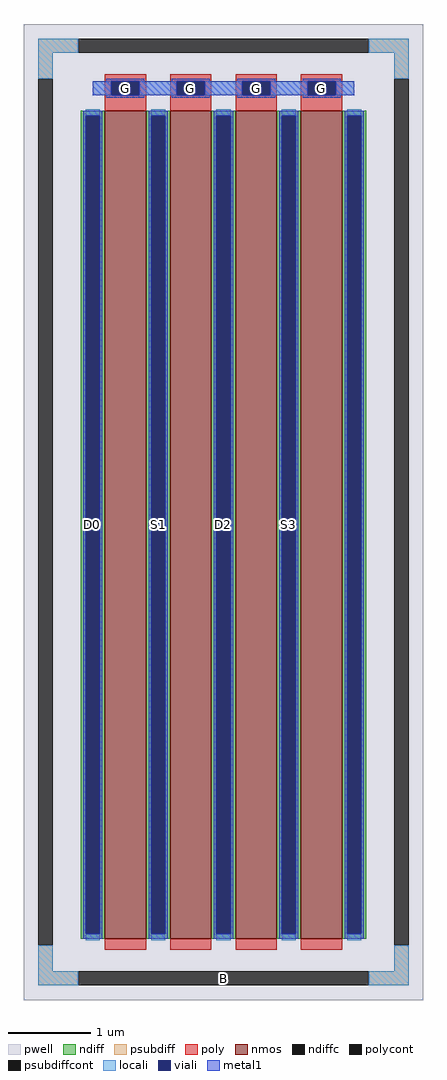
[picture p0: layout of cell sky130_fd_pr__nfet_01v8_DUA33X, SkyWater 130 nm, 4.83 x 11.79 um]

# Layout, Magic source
magic
tech sky130A
magscale 1 2
<< pwell >>
rect -483 -1179 483 1179
<< nmos >>
rect -287 -1031 -187 969
rect -129 -1031 -29 969
rect 29 -1031 129 969
rect 187 -1031 287 969
<< ndiff >>
rect -345 957 -287 969
rect -345 -1019 -333 957
rect -299 -1019 -287 957
rect -345 -1031 -287 -1019
rect -187 957 -129 969
rect -187 -1019 -175 957
rect -141 -1019 -129 957
rect -187 -1031 -129 -1019
rect -29 957 29 969
rect -29 -1019 -17 957
rect 17 -1019 29 957
rect -29 -1031 29 -1019
rect 129 957 187 969
rect 129 -1019 141 957
rect 175 -1019 187 957
rect 129 -1031 187 -1019
rect 287 957 345 969
rect 287 -1019 299 957
rect 333 -1019 345 957
rect 287 -1031 345 -1019
<< ndiffc >>
rect -333 -1019 -299 957
rect -175 -1019 -141 957
rect -17 -1019 17 957
rect 141 -1019 175 957
rect 299 -1019 333 957
<< psubdiff >>
rect -447 1109 -351 1143
rect 351 1109 447 1143
rect -447 1047 -413 1109
rect 413 1047 447 1109
rect -447 -1109 -413 -1047
rect 413 -1109 447 -1047
rect -447 -1143 -351 -1109
rect 351 -1143 447 -1109
<< psubdiffcont >>
rect -351 1109 351 1143
rect -447 -1047 -413 1047
rect 413 -1047 447 1047
rect -351 -1143 351 -1109
<< poly >>
rect -287 1041 -187 1057
rect -287 1007 -271 1041
rect -203 1007 -187 1041
rect -287 969 -187 1007
rect -129 1041 -29 1057
rect -129 1007 -113 1041
rect -45 1007 -29 1041
rect -129 969 -29 1007
rect 29 1041 129 1057
rect 29 1007 45 1041
rect 113 1007 129 1041
rect 29 969 129 1007
rect 187 1041 287 1057
rect 187 1007 203 1041
rect 271 1007 287 1041
rect 187 969 287 1007
rect -287 -1057 -187 -1031
rect -129 -1057 -29 -1031
rect 29 -1057 129 -1031
rect 187 -1057 287 -1031
<< polycont >>
rect -271 1007 -203 1041
rect -113 1007 -45 1041
rect 45 1007 113 1041
rect 203 1007 271 1041
<< locali >>
rect -447 1109 -351 1143
rect 351 1109 447 1143
rect -447 1047 -413 1109
rect 413 1047 447 1109
rect -316 1007 -271 1041
rect -203 1007 -113 1041
rect -45 1007 45 1041
rect 113 1007 203 1041
rect 271 1007 316 1041
rect -333 957 -299 973
rect -333 -1035 -299 -1019
rect -175 957 -141 973
rect -175 -1035 -141 -1019
rect -17 957 17 973
rect -17 -1035 17 -1019
rect 141 957 175 973
rect 141 -1035 175 -1019
rect 299 957 333 973
rect 299 -1035 333 -1019
rect -447 -1109 -413 -1047
rect 413 -1109 447 -1047
rect -447 -1143 -351 -1109
rect 351 -1143 447 -1109
<< viali >>
rect -271 1007 -203 1041
rect -113 1007 -45 1041
rect 45 1007 113 1041
rect 203 1007 271 1041
rect -333 -1019 -299 957
rect -175 -1019 -141 957
rect -17 -1019 17 957
rect 141 -1019 175 957
rect 299 -1019 333 957
<< metal1 >>
rect -283 1041 -191 1047
rect -125 1041 -33 1047
rect 33 1041 125 1047
rect 191 1041 283 1047
rect -316 1007 -271 1041
rect -203 1007 -113 1041
rect -45 1007 45 1041
rect 113 1007 203 1041
rect 271 1007 316 1041
rect -283 1001 -191 1007
rect -125 1001 -33 1007
rect 33 1001 125 1007
rect 191 1001 283 1007
rect -339 957 -293 969
rect -339 -1019 -333 957
rect -299 -1019 -293 957
rect -339 -1031 -293 -1019
rect -181 957 -135 969
rect -181 -1019 -175 957
rect -141 -1019 -135 957
rect -181 -1031 -135 -1019
rect -23 957 23 969
rect -23 -1019 -17 957
rect 17 -1019 23 957
rect -23 -1031 23 -1019
rect 135 957 181 969
rect 135 -1019 141 957
rect 175 -1019 181 957
rect 135 -1031 181 -1019
rect 293 957 339 969
rect 293 -1019 299 957
rect 333 -1019 339 957
rect 293 -1031 339 -1019
<< labels >>
rlabel psubdiffcont 0 -1126 0 -1126 0 B
port 1 nsew
rlabel ndiffc -316 -31 -316 -31 0 D0
port 2 nsew
rlabel polycont -237 1024 -237 1024 0 G
port 3 nsew
rlabel ndiffc -158 -31 -158 -31 0 S1
port 4 nsew
rlabel polycont -79 1024 -79 1024 0 G
port 3 nsew
rlabel ndiffc 0 -31 0 -31 0 D2
port 5 nsew
rlabel polycont 79 1024 79 1024 0 G
port 3 nsew
rlabel ndiffc 158 -31 158 -31 0 S3
port 6 nsew
rlabel polycont 237 1024 237 1024 0 G
port 3 nsew
<< properties >>
string FIXED_BBOX -430 -1126 430 1126
string gencell sky130_fd_pr__nfet_01v8
string library sky130
string parameters w 10.0 l 0.5 m 1 nf 4 diffcov 100 polycov 100 guard 1 glc 1 grc 1 gtc 1 gbc 1 tbcov 100 rlcov 100 topc 1 botc 0 poverlap 0 doverlap 1 lmin 0.15 wmin 0.42 class mosfet compatible {sky130_fd_pr__nfet_01v8 sky130_fd_pr__nfet_01v8_lvt  sky130_fd_bs_flash__special_sonosfet_star  sky130_fd_pr__nfet_g5v0d10v5 sky130_fd_pr__nfet_05v0_nvt  sky130_fd_pr__nfet_03v3_nvt} full_metal 1 conn_gates 1 viasrc 100 viadrn 100 viagate 100 viagb 0 viagr 0 viagl 0 viagt 0 doports 1
<< end >>
